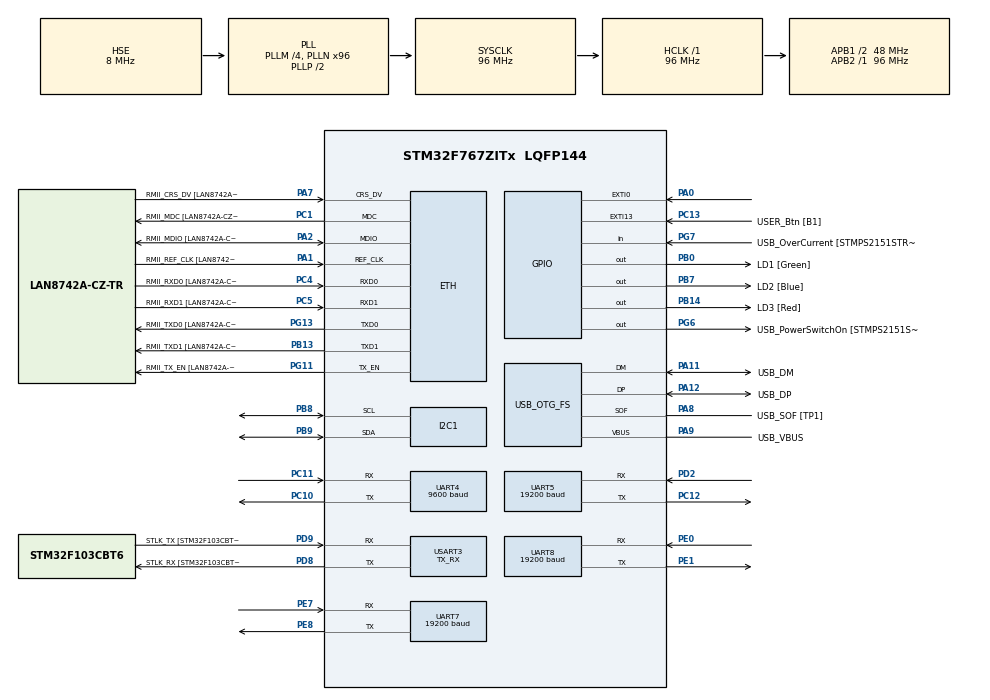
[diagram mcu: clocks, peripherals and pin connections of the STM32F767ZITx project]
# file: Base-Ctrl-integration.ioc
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Dma.Request0=UART8_TX
Dma.Request1=UART8_RX
Dma.Request2=UART4_RX
Dma.Request3=UART4_TX
Dma.Request4=USART3_TX
Dma.UART4_RX.2.Direction=DMA_PERIPH_TO_MEMORY
Dma.UART4_RX.2.FIFOMode=DMA_FIFOMODE_DISABLE
Dma.UART4_RX.2.Instance=DMA1_Stream2
Dma.UART4_RX.2.MemDataAlignment=DMA_MDATAALIGN_BYTE
Dma.UART4_RX.2.MemInc=DMA_MINC_ENABLE
Dma.UART4_RX.2.Mode=DMA_NORMAL
Dma.UART4_RX.2.PeriphDataAlignment=DMA_PDATAALIGN_BYTE
Dma.UART4_RX.2.PeriphInc=DMA_PINC_DISABLE
Dma.UART4_RX.2.Priority=DMA_PRIORITY_HIGH
Dma.UART4_TX.3.Direction=DMA_MEMORY_TO_PERIPH
Dma.UART4_TX.3.FIFOMode=DMA_FIFOMODE_DISABLE
Dma.UART4_TX.3.Instance=DMA1_Stream4
Dma.UART4_TX.3.MemDataAlignment=DMA_MDATAALIGN_BYTE
Dma.UART4_TX.3.MemInc=DMA_MINC_ENABLE
Dma.UART4_TX.3.Mode=DMA_NORMAL
Dma.UART4_TX.3.PeriphDataAlignment=DMA_PDATAALIGN_BYTE
Dma.UART4_TX.3.PeriphInc=DMA_PINC_DISABLE
Dma.UART4_TX.3.Priority=DMA_PRIORITY_HIGH
Dma.UART8_RX.1.Direction=DMA_PERIPH_TO_MEMORY
Dma.UART8_RX.1.FIFOMode=DMA_FIFOMODE_DISABLE
Dma.UART8_RX.1.Instance=DMA1_Stream6
Dma.UART8_RX.1.MemDataAlignment=DMA_MDATAALIGN_BYTE
Dma.UART8_RX.1.MemInc=DMA_MINC_ENABLE
Dma.UART8_RX.1.Mode=DMA_NORMAL
Dma.UART8_RX.1.PeriphDataAlignment=DMA_PDATAALIGN_BYTE
Dma.UART8_RX.1.PeriphInc=DMA_PINC_DISABLE
Dma.UART8_RX.1.Priority=DMA_PRIORITY_HIGH
Dma.UART8_TX.0.Direction=DMA_MEMORY_TO_PERIPH
Dma.UART8_TX.0.FIFOMode=DMA_FIFOMODE_DISABLE
Dma.UART8_TX.0.Instance=DMA1_Stream0
Dma.UART8_TX.0.MemDataAlignment=DMA_MDATAALIGN_BYTE
Dma.UART8_TX.0.MemInc=DMA_MINC_ENABLE
Dma.UART8_TX.0.Mode=DMA_CIRCULAR
Dma.UART8_TX.0.PeriphDataAlignment=DMA_PDATAALIGN_BYTE
Dma.UART8_TX.0.PeriphInc=DMA_PINC_DISABLE
Dma.UART8_TX.0.Priority=DMA_PRIORITY_HIGH
Dma.USART3_TX.4.Direction=DMA_MEMORY_TO_PERIPH
Dma.USART3_TX.4.FIFOMode=DMA_FIFOMODE_DISABLE
Dma.USART3_TX.4.Instance=DMA1_Stream3
Dma.USART3_TX.4.MemDataAlignment=DMA_MDATAALIGN_BYTE
Dma.USART3_TX.4.MemInc=DMA_MINC_ENABLE
Dma.USART3_TX.4.Mode=DMA_CIRCULAR
Dma.USART3_TX.4.PeriphDataAlignment=DMA_PDATAALIGN_BYTE
Dma.USART3_TX.4.PeriphInc=DMA_PINC_DISABLE
Dma.USART3_TX.4.Priority=DMA_PRIORITY_LOW
ETH.MediaInterface=HAL_ETH_RMII_MODE
ETH.PHY_Name=LAN8742A_PHY_ADDRESS
ETH.PHY_Value=0
ETH.PhyAddress=0
I2C1.Timing=0x20303E5D
Mcu.Family=STM32F7
Mcu.Name=STM32F767ZITx
Mcu.Package=LQFP144
NVIC.DMA1_Stream0_IRQn=true\:0\:0\:false\:false\:true\:false\:true\:true
NVIC.DMA1_Stream2_IRQn=true\:0\:0\:false\:false\:true\:false\:true\:true
NVIC.DMA1_Stream3_IRQn=true\:0\:0\:false\:false\:true\:false\:true\:true
NVIC.DMA1_Stream4_IRQn=true\:0\:0\:false\:false\:true\:false\:true\:true
NVIC.DMA1_Stream6_IRQn=true\:0\:0\:false\:false\:true\:false\:true\:true
NVIC.PriorityGroup=NVIC_PRIORITYGROUP_4
NVIC.TIM1_BRK_TIM9_IRQn=true\:0\:0\:false\:false\:true\:true\:true\:true
NVIC.UART5_IRQn=true\:0\:0\:false\:false\:true\:true\:true\:true
NVIC.UART7_IRQn=true\:0\:0\:false\:false\:true\:true\:true\:true
PA0/WKUP.Signal=GPXTI0
PA1.GPIO_Label=RMII_REF_CLK [LAN8742A-CZ-TR_REFCLK0]
PA1.Mode=RMII
PA1.Signal=ETH_REF_CLK
PA10.GPIO_Label=USB_ID
PA10.Signal=USB_OTG_FS_ID
PA11.GPIO_Label=USB_DM
PA11.Mode=Device_Only
PA11.Signal=USB_OTG_FS_DM
PA12.GPIO_Label=USB_DP
PA12.Mode=Device_Only
PA12.Signal=USB_OTG_FS_DP
PA13.GPIO_Label=TMS
PA13.Mode=Serial_Wire
PA13.Signal=SYS_JTMS-SWDIO
PA14.GPIO_Label=TCK
PA14.Mode=Serial_Wire
PA14.Signal=SYS_JTCK-SWCLK
PA2.GPIO_Label=RMII_MDIO [LAN8742A-CZ-TR_MDIO]
PA2.Mode=RMII
PA2.Signal=ETH_MDIO
PA7.GPIO_Label=RMII_CRS_DV [LAN8742A-CZ-TR_CRS_DV]
PA7.Mode=RMII
PA7.Signal=ETH_CRS_DV
PA8.GPIO_Label=USB_SOF [TP1]
PA8.Mode=Activate_SOF_FS
PA8.Signal=USB_OTG_FS_SOF
PA9.GPIO_Label=USB_VBUS
PA9.Mode=Activate_VBUS
PA9.Signal=USB_OTG_FS_VBUS
PB0.GPIO_Label=LD1 [Green]
PB0.Signal=GPIO_Output
PB13.GPIO_Label=RMII_TXD1 [LAN8742A-CZ-TR_TXD1]
PB13.Mode=RMII
PB13.Signal=ETH_TXD1
PB14.GPIO_Label=LD3 [Red]
PB14.Signal=GPIO_Output
PB3.GPIO_Label=SWO
PB3.Signal=SYS_JTDO-SWO
PB7.GPIO_Label=LD2 [Blue]
PB7.Signal=GPIO_Output
PB8.Mode=I2C
PB8.Signal=I2C1_SCL
PB9.Mode=I2C
PB9.Signal=I2C1_SDA
PC1.GPIO_Label=RMII_MDC [LAN8742A-CZ-TR_MDC]
PC1.Mode=RMII
PC1.Signal=ETH_MDC
PC10.Mode=Asynchronous
PC10.Signal=UART4_TX
PC11.Mode=Asynchronous
PC11.Signal=UART4_RX
PC12.Mode=Asynchronous
PC12.Signal=UART5_TX
PC13.GPIO_Label=USER_Btn [B1]
PC13.Signal=GPXTI13
PC14/OSC32_IN.Mode=LSE-External-Oscillator
PC14/OSC32_IN.Signal=RCC_OSC32_IN
PC15/OSC32_OUT.Mode=LSE-External-Oscillator
PC15/OSC32_OUT.Signal=RCC_OSC32_OUT
PC4.GPIO_Label=RMII_RXD0 [LAN8742A-CZ-TR_RXD0]
PC4.Mode=RMII
PC4.Signal=ETH_RXD0
PC5.GPIO_Label=RMII_RXD1 [LAN8742A-CZ-TR_RXD1]
PC5.Mode=RMII
PC5.Signal=ETH_RXD1
PD2.Mode=Asynchronous
PD2.Signal=UART5_RX
PD8.GPIO_Label=STLK_RX [STM32F103CBT6_PA3]
PD8.Mode=Asynchronous
PD8.Signal=USART3_TX
PD9.GPIO_Label=STLK_TX [STM32F103CBT6_PA2]
PD9.Mode=Asynchronous
PD9.Signal=USART3_RX
PE0.Mode=Asynchronous
PE0.Signal=UART8_RX
PE1.Mode=Asynchronous
PE1.Signal=UART8_TX
PE7.Mode=Asynchronous
PE7.Signal=UART7_RX
PE8.Mode=Asynchronous
PE8.Signal=UART7_TX
PG11.GPIO_Label=RMII_TX_EN [LAN8742A-CZ-TR_TXEN]
PG11.Mode=RMII
PG11.Signal=ETH_TX_EN
PG13.GPIO_Label=RMII_TXD0 [LAN8742A-CZ-TR_TXD0]
PG13.Mode=RMII
PG13.Signal=ETH_TXD0
PG14.Signal=USART6_TX
PG6.GPIO_Label=USB_PowerSwitchOn [STMPS2151STR_EN]
PG6.Signal=GPIO_Output
PG7.GPIO_Label=USB_OverCurrent [STMPS2151STR_FAULT]
PG7.Signal=GPIO_Input
PG9.Signal=USART6_RX
PH0/OSC_IN.GPIO_Label=MCO [STM32F103CBT6_PA8]
PH0/OSC_IN.Mode=HSE-External-Clock-Source
PH0/OSC_IN.Signal=RCC_OSC_IN
PH1/OSC_OUT.Mode=HSE-External-Clock-Source
PH1/OSC_OUT.Signal=RCC_OSC_OUT
ProjectManager.HeapSize=0x200
ProjectManager.StackSize=0x400
ProjectManager.TargetToolchain=STM32CubeIDE
RCC.48MHZClocksFreq_Value=24000000
RCC.AHBFreq_Value=96000000
RCC.APB1CLKDivider=RCC_HCLK_DIV2
RCC.APB1Freq_Value=48000000
RCC.APB1TimFreq_Value=96000000
RCC.APB2Freq_Value=96000000
RCC.APB2TimFreq_Value=96000000
RCC.CortexFreq_Value=96000000
RCC.HCLKFreq_Value=96000000
RCC.HSE_VALUE=8000000
RCC.HSI_VALUE=16000000
RCC.PLLM=4
RCC.PLLMUL=RCC_PLL_MUL9
RCC.PLLN=96
RCC.PLLQ=4
RCC.PRESCALERUSB=RCC_USBCLKSOURCE_PLL_DIV1_5
RCC.SYSCLKFreq_VALUE=96000000
RCC.SYSCLKSource=RCC_SYSCLKSOURCE_PLLCLK
RCC.SYSCLKSourceVirtual=RCC_SYSCLKSOURCE_PLLCLK
RCC.USBFreq_Value=48000000
RCC.VCOOutputFreq_Value=192000000
TIM9.Period=47999
UART4.BaudRate=9600
UART5.BaudRate=19200
UART7.BaudRate=19200
UART7.Mode=MODE_TX
UART8.BaudRate=19200
USART3.Mode=MODE_TX_RX
USART3.VirtualMode-Asynchronous=VM_ASYNC
USB_OTG_FS.VirtualMode=Device_Only
VP_TIM4_VS_ClockSourceITR.Mode=TriggerSource_ITR0
VP_TIM4_VS_ControllerModeClock.Mode=Clock Mode
VP_TIM9_VS_ClockSourceINT.Mode=Internal
board=NUCLEO-F767ZI

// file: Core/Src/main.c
/* USER CODE BEGIN Header */
/**
  ******************************************************************************
  * @file           : main.c
  * @brief          : Main program body
  ******************************************************************************
  * @attention
  *
  * Copyright (c) 2026 STMicroelectronics.
  * All rights reserved.
  *
  * This software is licensed under terms that can be found in the LICENSE file
  * in the root directory of this software component.
  * If no LICENSE file comes with this software, it is provided AS-IS.
  *
  ******************************************************************************
  */
/* USER CODE END Header */
#include "main.h"
#include "string.h"

/* USER CODE BEGIN Includes */
#include "bldc_interface.h"
#include "bldc_interface_uart.h"
#include <math.h>
#include <stdio.h>
/* USER CODE END Includes */

/* USER CODE BEGIN PM */
#define XUP	0x228
#define XDN 0x1F6
#define YUP 0x207
#define YDN 0x1D5
#define JMX 0x3FF

#define S1 0x41
#define S2 0x5A
#define E1 0x59
#define E2 0x42
/* USER CODE END PM */

#if defined ( __ICCARM__ ) /*!< IAR Compiler */
#pragma location=0x2007c000
ETH_DMADescTypeDef  DMARxDscrTab[ETH_RX_DESC_CNT]; /* Ethernet Rx DMA Descriptors */
#pragma location=0x2007c0a0
ETH_DMADescTypeDef  DMATxDscrTab[ETH_TX_DESC_CNT]; /* Ethernet Tx DMA Descriptors */

#elif defined ( __CC_ARM )  /* MDK ARM Compiler */

__attribute__((at(0x2007c000))) ETH_DMADescTypeDef  DMARxDscrTab[ETH_RX_DESC_CNT]; /* Ethernet Rx DMA Descriptors */
__attribute__((at(0x2007c0a0))) ETH_DMADescTypeDef  DMATxDscrTab[ETH_TX_DESC_CNT]; /* Ethernet Tx DMA Descriptors */

#elif defined ( __GNUC__ ) /* GNU Compiler */

ETH_DMADescTypeDef DMARxDscrTab[ETH_RX_DESC_CNT] __attribute__((section(".RxDecripSection"))); /* Ethernet Rx DMA Descriptors */
ETH_DMADescTypeDef DMATxDscrTab[ETH_TX_DESC_CNT] __attribute__((section(".TxDecripSection")));   /* Ethernet Tx DMA Descriptors */
#endif

ETH_TxPacketConfig TxConfig;

ETH_HandleTypeDef heth;

I2C_HandleTypeDef hi2c1;

TIM_HandleTypeDef htim4;
TIM_HandleTypeDef htim9;

UART_HandleTypeDef huart4;
UART_HandleTypeDef huart5;
UART_HandleTypeDef huart7;
UART_HandleTypeDef huart8;
UART_HandleTypeDef huart3;
DMA_HandleTypeDef hdma_uart4_rx;
DMA_HandleTypeDef hdma_uart4_tx;
DMA_HandleTypeDef hdma_uart8_tx;
DMA_HandleTypeDef hdma_uart8_rx;
DMA_HandleTypeDef hdma_usart3_tx;

PCD_HandleTypeDef hpcd_USB_OTG_FS;

/* USER CODE BEGIN PV */
uint16_t ms = 0;
uint16_t ss = 0;
unsigned char vesc_buff;
unsigned char esp_buff[13] = {0};
unsigned char arm_buff[13] = {0};
int in1 = 0;
int in2 = 0;
/* USER CODE END PV */

void SystemClock_Config(void);
static void MX_GPIO_Init(void);
static void MX_DMA_Init(void);
static void MX_ETH_Init(void);
static void MX_USART3_UART_Init(void);
static void MX_USB_OTG_FS_PCD_Init(void);
static void MX_UART4_Init(void);
static void MX_UART5_Init(void);
static void MX_UART7_Init(void);
static void MX_TIM4_Init(void);
static void MX_TIM9_Init(void);
static void MX_I2C1_Init(void);
static void MX_UART8_Init(void);
/* USER CODE BEGIN PFP */
void send_left(unsigned char *data, unsigned int len);
void send_right(unsigned char *data, unsigned int len);
/* USER CODE END PFP */

int main(void)
{

  /* MCU Configuration--------------------------------------------------------*/

  /* Reset of all peripherals, Initializes the Flash interface and the Systick. */
  HAL_Init();

  /* Configure the system clock */
  SystemClock_Config();

  /* Initialize all configured peripherals */
  MX_GPIO_Init();
  MX_DMA_Init();
  MX_ETH_Init();
  MX_USART3_UART_Init();
  MX_USB_OTG_FS_PCD_Init();
  MX_UART4_Init();
  MX_UART5_Init();
  MX_UART7_Init();
  MX_TIM4_Init();
  MX_TIM9_Init();
  MX_I2C1_Init();
  MX_UART8_Init();
  /* USER CODE BEGIN 2 */
  bldc_interface_uart_init(send_left);
  HAL_UART_Receive_IT(&huart5, &vesc_buff, 1);
  HAL_UART_Receive_DMA(&huart4, (uint8_t*)esp_buff, 12);
  HAL_UART_Receive_DMA(&huart8, (uint8_t*)arm_buff, 12);

  float time_cur;
  float time_las = 0.0;
  uint16_t x_in, y_in;
  float input_x, input_y;
  float throttle_des1 = 0.0;
  float throttle_des2 = 0.0;
  float throttle_cur1 = 0.0;
  float throttle_cur2 = 0.0;
  int step = 0;
  /* USER CODE END 2 */

  /* Infinite loop */
  /* USER CODE BEGIN WHILE */
  HAL_TIM_Base_Start_IT(&htim9);
  while (1) {
	  time_cur = (float)ss + (float)ms / 1000.0;

	  //message routing
	  if (in1 == 1) {
		  //serial monitor
		  //HAL_UART_Transmit_DMA(&huart3, (uint8_t*)esp_buff, 12);

		  //error check
		  if (esp_buff[0] == S1 && esp_buff[1] == S2) {
			  if (esp_buff[2] == 0x02) {
				  HAL_UART_Transmit_DMA(&huart8, (uint8_t*)esp_buff, 12);
				  HAL_GPIO_TogglePin(GPIOB, GPIO_PIN_7);
			  } else if (esp_buff[2] == 0x01) {
				  x_in = ((uint16_t)esp_buff[4] << 8) | esp_buff[5];
				  y_in = ((uint16_t)esp_buff[6] << 8) | esp_buff[7];

				  //joystick x input
				  if (x_in > XUP) {
					  input_x = (float)(x_in - XUP) / (float)(JMX - XUP);
				  } else if (x_in < XDN) {
					  input_x = (float)(x_in - XDN) / (float)(XDN);
				  } else {
					  input_x = 0.0;
				  }

				  //joystick y input
				  if (y_in > YUP) {
					  input_y = (float)(y_in - YUP) / (float)(JMX - YUP);
				  } else if (y_in < YDN) {
					  input_y = (float)(y_in - YDN) / (float)(JMX - YDN);
				  } else {
					  input_y = 0.0;
				  }

				  //throttle sets
				  throttle_des1 = (input_y + input_x) / 3.0;
				  throttle_des2 = (input_y - input_x) / 3.0;
			  }

		  } else {//communication corruption fault -> brake
			  throttle_des1 = 0.0;
			  throttle_des2 = 0.0;
		  }
		  in1 = 0;
	  }

	  //motor polling loop
	  if (time_cur - time_las >= .01) {
		  time_las = time_cur;
		  HAL_GPIO_TogglePin(GPIOB, GPIO_PIN_14);

		  switch (step) {
		  case 0:
			  if (throttle_des1 != 0.0) {bldc_interface_set_duty_cycle(throttle_cur1);}
			  else {bldc_interface_set_handbrake(3.0);}
			  step = 1;
			  break;
		  case 1:
			  bldc_interface_uart_init(send_right);
			  step = 2;
			  break;
		  case 2:
			  if (throttle_des2 != 0.0) {bldc_interface_set_duty_cycle(throttle_cur2);}
			  else {bldc_interface_set_handbrake(3.0);}
			  step = 3;
			  break;
		  case 3:
			  bldc_interface_uart_init(send_left);
			  step = 0;
			  break;
		  }

		  if (throttle_cur1 < throttle_des1) {throttle_cur1 += 0.001;}
		  else if (throttle_cur1 > throttle_des1) {throttle_cur1 -= 0.001;}

		  if (throttle_cur2 < throttle_des2) {throttle_cur2 += 0.001;}
		  else if (throttle_cur2 > throttle_des2) {throttle_cur2 -= 0.001;}
	  }

	  //arm message forwarding
	  if (in2 == 1) {
		  HAL_UART_Transmit_DMA(&huart4, (uint8_t*)arm_buff, 12);
		  in2 = 0;
	  }
    /* USER CODE END WHILE */

  }
}

void SystemClock_Config(void)
{
  RCC_OscInitTypeDef RCC_OscInitStruct = {0};
  RCC_ClkInitTypeDef RCC_ClkInitStruct = {0};

  /** Configure LSE Drive Capability
  */
  HAL_PWR_EnableBkUpAccess();

  /** Configure the main internal regulator output voltage
  */
  __HAL_RCC_PWR_CLK_ENABLE();
  __HAL_PWR_VOLTAGESCALING_CONFIG(PWR_REGULATOR_VOLTAGE_SCALE3);

  /** Initializes the RCC Oscillators according to the specified parameters
  * in the RCC_OscInitTypeDef structure.
  */
  RCC_OscInitStruct.OscillatorType = RCC_OSCILLATORTYPE_HSE;
  RCC_OscInitStruct.HSEState = RCC_HSE_BYPASS;
  RCC_OscInitStruct.PLL.PLLState = RCC_PLL_ON;
  RCC_OscInitStruct.PLL.PLLSource = RCC_PLLSOURCE_HSE;
  RCC_OscInitStruct.PLL.PLLM = 4;
  RCC_OscInitStruct.PLL.PLLN = 96;
  RCC_OscInitStruct.PLL.PLLP = RCC_PLLP_DIV2;
  RCC_OscInitStruct.PLL.PLLQ = 4;
  RCC_OscInitStruct.PLL.PLLR = 2;
  if (HAL_RCC_OscConfig(&RCC_OscInitStruct) != HAL_OK)
  {
    Error_Handler();
  }

  /** Activate the Over-Drive mode
  */
  if (HAL_PWREx_EnableOverDrive() != HAL_OK)
  {
    Error_Handler();
  }

  /** Initializes the CPU, AHB and APB buses clocks
  */
  RCC_ClkInitStruct.ClockType = RCC_CLOCKTYPE_HCLK|RCC_CLOCKTYPE_SYSCLK
                              |RCC_CLOCKTYPE_PCLK1|RCC_CLOCKTYPE_PCLK2;
  RCC_ClkInitStruct.SYSCLKSource = RCC_SYSCLKSOURCE_PLLCLK;
  RCC_ClkInitStruct.AHBCLKDivider = RCC_SYSCLK_DIV1;
  RCC_ClkInitStruct.APB1CLKDivider = RCC_HCLK_DIV2;
  RCC_ClkInitStruct.APB2CLKDivider = RCC_HCLK_DIV1;

  if (HAL_RCC_ClockConfig(&RCC_ClkInitStruct, FLASH_LATENCY_3) != HAL_OK)
  {
    Error_Handler();
  }
}

static void MX_ETH_Init(void)
{

   static uint8_t MACAddr[6];

  heth.Instance = ETH;
  MACAddr[0] = 0x00;
  MACAddr[1] = 0x80;
  MACAddr[2] = 0xE1;
  MACAddr[3] = 0x00;
  MACAddr[4] = 0x00;
  MACAddr[5] = 0x00;
  heth.Init.MACAddr = &MACAddr[0];
  heth.Init.MediaInterface = HAL_ETH_RMII_MODE;
  heth.Init.TxDesc = DMATxDscrTab;
  heth.Init.RxDesc = DMARxDscrTab;
  heth.Init.RxBuffLen = 1524;

  if (HAL_ETH_Init(&heth) != HAL_OK)
  {
    Error_Handler();
  }

  memset(&TxConfig, 0 , sizeof(ETH_TxPacketConfig));
  TxConfig.Attributes = ETH_TX_PACKETS_FEATURES_CSUM | ETH_TX_PACKETS_FEATURES_CRCPAD;
  TxConfig.ChecksumCtrl = ETH_CHECKSUM_IPHDR_PAYLOAD_INSERT_PHDR_CALC;
  TxConfig.CRCPadCtrl = ETH_CRC_PAD_INSERT;

}

static void MX_I2C1_Init(void)
{

  hi2c1.Instance = I2C1;
  hi2c1.Init.Timing = 0x20303E5D;
  hi2c1.Init.OwnAddress1 = 0;
  hi2c1.Init.AddressingMode = I2C_ADDRESSINGMODE_7BIT;
  hi2c1.Init.DualAddressMode = I2C_DUALADDRESS_DISABLE;
  hi2c1.Init.OwnAddress2 = 0;
  hi2c1.Init.OwnAddress2Masks = I2C_OA2_NOMASK;
  hi2c1.Init.GeneralCallMode = I2C_GENERALCALL_DISABLE;
  hi2c1.Init.NoStretchMode = I2C_NOSTRETCH_DISABLE;
  if (HAL_I2C_Init(&hi2c1) != HAL_OK)
  {
    Error_Handler();
  }

  /** Configure Analogue filter
  */
  if (HAL_I2CEx_ConfigAnalogFilter(&hi2c1, I2C_ANALOGFILTER_ENABLE) != HAL_OK)
  {
    Error_Handler();
  }

  /** Configure Digital filter
  */
  if (HAL_I2CEx_ConfigDigitalFilter(&hi2c1, 0) != HAL_OK)
  {
    Error_Handler();
  }

}

static void MX_TIM4_Init(void)
{

  TIM_SlaveConfigTypeDef sSlaveConfig = {0};
  TIM_MasterConfigTypeDef sMasterConfig = {0};

  htim4.Instance = TIM4;
  htim4.Init.Prescaler = 0;
  htim4.Init.CounterMode = TIM_COUNTERMODE_UP;
  htim4.Init.Period = 65535;
  htim4.Init.ClockDivision = TIM_CLOCKDIVISION_DIV1;
  htim4.Init.AutoReloadPreload = TIM_AUTORELOAD_PRELOAD_DISABLE;
  if (HAL_TIM_Base_Init(&htim4) != HAL_OK)
  {
    Error_Handler();
  }
  sSlaveConfig.SlaveMode = TIM_SLAVEMODE_EXTERNAL1;
  sSlaveConfig.InputTrigger = TIM_TS_ITR0;
  if (HAL_TIM_SlaveConfigSynchro(&htim4, &sSlaveConfig) != HAL_OK)
  {
    Error_Handler();
  }
  sMasterConfig.MasterOutputTrigger = TIM_TRGO_RESET;
  sMasterConfig.MasterSlaveMode = TIM_MASTERSLAVEMODE_DISABLE;
  if (HAL_TIMEx_MasterConfigSynchronization(&htim4, &sMasterConfig) != HAL_OK)
  {
    Error_Handler();
  }

}

static void MX_TIM9_Init(void)
{

  TIM_ClockConfigTypeDef sClockSourceConfig = {0};

  htim9.Instance = TIM9;
  htim9.Init.Prescaler = 0;
  htim9.Init.CounterMode = TIM_COUNTERMODE_UP;
  htim9.Init.Period = 47999;
  htim9.Init.ClockDivision = TIM_CLOCKDIVISION_DIV1;
  htim9.Init.AutoReloadPreload = TIM_AUTORELOAD_PRELOAD_DISABLE;
  if (HAL_TIM_Base_Init(&htim9) != HAL_OK)
  {
    Error_Handler();
  }
  sClockSourceConfig.ClockSource = TIM_CLOCKSOURCE_INTERNAL;
  if (HAL_TIM_ConfigClockSource(&htim9, &sClockSourceConfig) != HAL_OK)
  {
    Error_Handler();
  }

}

static void MX_UART4_Init(void)
{

  huart4.Instance = UART4;
  huart4.Init.BaudRate = 9600;
  huart4.Init.WordLength = UART_WORDLENGTH_8B;
  huart4.Init.StopBits = UART_STOPBITS_1;
  huart4.Init.Parity = UART_PARITY_NONE;
  huart4.Init.Mode = UART_MODE_TX_RX;
  huart4.Init.HwFlowCtl = UART_HWCONTROL_NONE;
  huart4.Init.OverSampling = UART_OVERSAMPLING_16;
  huart4.Init.OneBitSampling = UART_ONE_BIT_SAMPLE_DISABLE;
  huart4.AdvancedInit.AdvFeatureInit = UART_ADVFEATURE_NO_INIT;
  if (HAL_UART_Init(&huart4) != HAL_OK)
  {
    Error_Handler();
  }

}

static void MX_UART5_Init(void)
{

  huart5.Instance = UART5;
  huart5.Init.BaudRate = 19200;
  huart5.Init.WordLength = UART_WORDLENGTH_8B;
  huart5.Init.StopBits = UART_STOPBITS_1;
  huart5.Init.Parity = UART_PARITY_NONE;
  huart5.Init.Mode = UART_MODE_TX_RX;
  huart5.Init.HwFlowCtl = UART_HWCONTROL_NONE;
  huart5.Init.OverSampling = UART_OVERSAMPLING_16;
  huart5.Init.OneBitSampling = UART_ONE_BIT_SAMPLE_DISABLE;
  huart5.AdvancedInit.AdvFeatureInit = UART_ADVFEATURE_NO_INIT;
  if (HAL_UART_Init(&huart5) != HAL_OK)
  {
    Error_Handler();
  }

}

static void MX_UART7_Init(void)
{

  huart7.Instance = UART7;
  huart7.Init.BaudRate = 19200;
  huart7.Init.WordLength = UART_WORDLENGTH_8B;
  huart7.Init.StopBits = UART_STOPBITS_1;
  huart7.Init.Parity = UART_PARITY_NONE;
  huart7.Init.Mode = UART_MODE_TX;
  huart7.Init.HwFlowCtl = UART_HWCONTROL_NONE;
  huart7.Init.OverSampling = UART_OVERSAMPLING_16;
  huart7.Init.OneBitSampling = UART_ONE_BIT_SAMPLE_DISABLE;
  huart7.AdvancedInit.AdvFeatureInit = UART_ADVFEATURE_NO_INIT;
  if (HAL_UART_Init(&huart7) != HAL_OK)
  {
    Error_Handler();
  }

}

static void MX_UART8_Init(void)
{

  huart8.Instance = UART8;
  huart8.Init.BaudRate = 19200;
  huart8.Init.WordLength = UART_WORDLENGTH_8B;
  huart8.Init.StopBits = UART_STOPBITS_1;
  huart8.Init.Parity = UART_PARITY_NONE;
  huart8.Init.Mode = UART_MODE_TX_RX;
  huart8.Init.HwFlowCtl = UART_HWCONTROL_NONE;
  huart8.Init.OverSampling = UART_OVERSAMPLING_16;
  huart8.Init.OneBitSampling = UART_ONE_BIT_SAMPLE_DISABLE;
  huart8.AdvancedInit.AdvFeatureInit = UART_ADVFEATURE_NO_INIT;
  if (HAL_UART_Init(&huart8) != HAL_OK)
  {
    Error_Handler();
  }

}

static void MX_USART3_UART_Init(void)
{

  huart3.Instance = USART3;
  huart3.Init.BaudRate = 115200;
  huart3.Init.WordLength = UART_WORDLENGTH_8B;
  huart3.Init.StopBits = UART_STOPBITS_1;
  huart3.Init.Parity = UART_PARITY_NONE;
  huart3.Init.Mode = UART_MODE_TX_RX;
  huart3.Init.HwFlowCtl = UART_HWCONTROL_NONE;
  huart3.Init.OverSampling = UART_OVERSAMPLING_16;
  huart3.Init.OneBitSampling = UART_ONE_BIT_SAMPLE_DISABLE;
  huart3.AdvancedInit.AdvFeatureInit = UART_ADVFEATURE_NO_INIT;
  if (HAL_UART_Init(&huart3) != HAL_OK)
  {
    Error_Handler();
  }

}

static void MX_USB_OTG_FS_PCD_Init(void)
{

  hpcd_USB_OTG_FS.Instance = USB_OTG_FS;
  hpcd_USB_OTG_FS.Init.dev_endpoints = 6;
  hpcd_USB_OTG_FS.Init.speed = PCD_SPEED_FULL;
  hpcd_USB_OTG_FS.Init.dma_enable = DISABLE;
  hpcd_USB_OTG_FS.Init.phy_itface = PCD_PHY_EMBEDDED;
  hpcd_USB_OTG_FS.Init.Sof_enable = ENABLE;
  hpcd_USB_OTG_FS.Init.low_power_enable = DISABLE;
  hpcd_USB_OTG_FS.Init.lpm_enable = DISABLE;
  hpcd_USB_OTG_FS.Init.vbus_sensing_enable = ENABLE;
  hpcd_USB_OTG_FS.Init.use_dedicated_ep1 = DISABLE;
  if (HAL_PCD_Init(&hpcd_USB_OTG_FS) != HAL_OK)
  {
    Error_Handler();
  }

}

static void MX_DMA_Init(void)
{

  /* DMA controller clock enable */
  __HAL_RCC_DMA1_CLK_ENABLE();

  /* DMA interrupt init */
  /* DMA1_Stream0_IRQn interrupt configuration */
  HAL_NVIC_SetPriority(DMA1_Stream0_IRQn, 0, 0);
  HAL_NVIC_EnableIRQ(DMA1_Stream0_IRQn);
  /* DMA1_Stream2_IRQn interrupt configuration */
  HAL_NVIC_SetPriority(DMA1_Stream2_IRQn, 0, 0);
  HAL_NVIC_EnableIRQ(DMA1_Stream2_IRQn);
  /* DMA1_Stream3_IRQn interrupt configuration */
  HAL_NVIC_SetPriority(DMA1_Stream3_IRQn, 0, 0);
  HAL_NVIC_EnableIRQ(DMA1_Stream3_IRQn);
  /* DMA1_Stream4_IRQn interrupt configuration */
  HAL_NVIC_SetPriority(DMA1_Stream4_IRQn, 0, 0);
  HAL_NVIC_EnableIRQ(DMA1_Stream4_IRQn);
  /* DMA1_Stream6_IRQn interrupt configuration */
  HAL_NVIC_SetPriority(DMA1_Stream6_IRQn, 0, 0);
  HAL_NVIC_EnableIRQ(DMA1_Stream6_IRQn);

}

static void MX_GPIO_Init(void)
{
  GPIO_InitTypeDef GPIO_InitStruct = {0};

  /* GPIO Ports Clock Enable */
  __HAL_RCC_GPIOC_CLK_ENABLE();
  __HAL_RCC_GPIOH_CLK_ENABLE();
  __HAL_RCC_GPIOA_CLK_ENABLE();
  __HAL_RCC_GPIOB_CLK_ENABLE();
  __HAL_RCC_GPIOE_CLK_ENABLE();
  __HAL_RCC_GPIOD_CLK_ENABLE();
  __HAL_RCC_GPIOG_CLK_ENABLE();

  /*Configure GPIO pin Output Level */
  HAL_GPIO_WritePin(GPIOB, LD1_Pin|LD3_Pin|LD2_Pin, GPIO_PIN_RESET);

  /*Configure GPIO pin Output Level */
  HAL_GPIO_WritePin(USB_PowerSwitchOn_GPIO_Port, USB_PowerSwitchOn_Pin, GPIO_PIN_RESET);

  /*Configure GPIO pin : USER_Btn_Pin */
  GPIO_InitStruct.Pin = USER_Btn_Pin;
  GPIO_InitStruct.Mode = GPIO_MODE_IT_RISING;
  GPIO_InitStruct.Pull = GPIO_NOPULL;
  HAL_GPIO_Init(USER_Btn_GPIO_Port, &GPIO_InitStruct);

  /*Configure GPIO pin : PA0 */
  GPIO_InitStruct.Pin = GPIO_PIN_0;
  GPIO_InitStruct.Mode = GPIO_MODE_IT_RISING;
  GPIO_InitStruct.Pull = GPIO_NOPULL;
  HAL_GPIO_Init(GPIOA, &GPIO_InitStruct);

  /*Configure GPIO pins : LD1_Pin LD3_Pin LD2_Pin */
  GPIO_InitStruct.Pin = LD1_Pin|LD3_Pin|LD2_Pin;
  GPIO_InitStruct.Mode = GPIO_MODE_OUTPUT_PP;
  GPIO_InitStruct.Pull = GPIO_NOPULL;
  GPIO_InitStruct.Speed = GPIO_SPEED_FREQ_LOW;
  HAL_GPIO_Init(GPIOB, &GPIO_InitStruct);

  /*Configure GPIO pin : USB_PowerSwitchOn_Pin */
  GPIO_InitStruct.Pin = USB_PowerSwitchOn_Pin;
  GPIO_InitStruct.Mode = GPIO_MODE_OUTPUT_PP;
  GPIO_InitStruct.Pull = GPIO_NOPULL;
  GPIO_InitStruct.Speed = GPIO_SPEED_FREQ_LOW;
  HAL_GPIO_Init(USB_PowerSwitchOn_GPIO_Port, &GPIO_InitStruct);

  /*Configure GPIO pin : USB_OverCurrent_Pin */
  GPIO_InitStruct.Pin = USB_OverCurrent_Pin;
  GPIO_InitStruct.Mode = GPIO_MODE_INPUT;
  GPIO_InitStruct.Pull = GPIO_NOPULL;
  HAL_GPIO_Init(USB_OverCurrent_GPIO_Port, &GPIO_InitStruct);

  /*Configure GPIO pins : PG9 PG14 */
  GPIO_InitStruct.Pin = GPIO_PIN_9|GPIO_PIN_14;
  GPIO_InitStruct.Mode = GPIO_MODE_AF_PP;
  GPIO_InitStruct.Pull = GPIO_NOPULL;
  GPIO_InitStruct.Speed = GPIO_SPEED_FREQ_VERY_HIGH;
  GPIO_InitStruct.Alternate = GPIO_AF8_USART6;
  HAL_GPIO_Init(GPIOG, &GPIO_InitStruct);

}

/* USER CODE BEGIN 4 */
/**
 *  @brief  Send command packet to VESC via UART
 *  @param  *data: pointer to data buffer
 *          len: length of data buffer
 *  @retval None
 *
 */
void send_left(unsigned char *data, unsigned int len) {
	HAL_UART_Transmit_IT(&huart5, data, len);
}
void send_right(unsigned char *data, unsigned int len) {
	HAL_UART_Transmit_IT(&huart7, data, len);
}

/**
  * @brief  This function is executed upon completion of UART_RX interrupt
  * @param  *huart: pointer to uart instance
  * @retval None
  *
  **/
void HAL_UART_RxCpltCallback(UART_HandleTypeDef *huart) {
	if (huart->Instance == UART4) {
		if (esp_buff[0] == S1 && esp_buff[1] == S2) {
			in1 = 1;
			HAL_GPIO_TogglePin(GPIOB, GPIO_PIN_0);
		} else {
			memset(esp_buff, 0, sizeof(esp_buff));
		}
		HAL_UART_Receive_DMA(&huart4, (uint8_t*)esp_buff, 12);
	} else if (huart->Instance == UART5) {
		bldc_interface_uart_process_byte(vesc_buff);

		HAL_UART_Receive_IT(&huart5, &vesc_buff, 1);
	} else if (huart->Instance == UART8) {
		in2 = 1;

		HAL_UART_Receive_DMA(&huart8, (uint8_t*)arm_buff, 12);
	}
}

/**
 *  @brief  Timer interrupt callback for polling loops
 *  @param  *htim: pointer to timer instance
 *  @retval None
 *
 */
void HAL_TIM_PeriodElapsedCallback(TIM_HandleTypeDef* htim) {
	ms++;
	if (ms >= 1000) {
		ms -= 1000;
		ss++;
	}
}
/* USER CODE END 4 */

void Error_Handler(void)
{
  __disable_irq();
  while (1)
  {
  }
}
